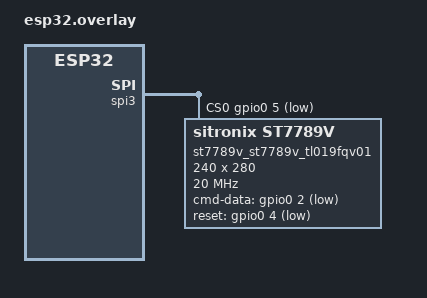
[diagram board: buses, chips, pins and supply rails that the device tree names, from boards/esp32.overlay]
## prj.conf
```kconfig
CONFIG_LV_Z_MEM_POOL_NUMBER_BLOCKS=8
CONFIG_MAIN_STACK_SIZE=2048

CONFIG_DISPLAY=y
CONFIG_DISPLAY_LOG_LEVEL_ERR=y

CONFIG_LOG=y

CONFIG_LVGL=y
CONFIG_LV_MEM_CUSTOM=y
CONFIG_LV_USE_LOG=y
CONFIG_LV_USE_LABEL=y
CONFIG_LV_USE_BTN=y
CONFIG_LV_USE_IMG=y
CONFIG_LV_FONT_MONTSERRAT_14=y
```

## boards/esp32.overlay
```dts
/*
 * Copyright (c) 2019 Jan Van Winkel <jan.van_winkel@dxplore.eu>
 *
 * SPDX-License-Identifier: Apache-2.0
 */

/ {
	chosen {
		zephyr,display = &st7789v_st7789v_tl019fqv01;
	};
};

&spi3 {
	status = "okay";
	cs-gpios = <&gpio0 5 GPIO_ACTIVE_LOW>;	/* D10 */

	st7789v_st7789v_tl019fqv01: st7789v@0 {
		compatible = "sitronix,st7789v";
		spi-max-frequency = <20000000>;
		reg = <0>;
		cmd-data-gpios = <&gpio0 2 GPIO_ACTIVE_LOW>;	/* D9 */
		reset-gpios = <&gpio0 4 GPIO_ACTIVE_LOW>;	/* D8 */
		width = <240>;
		height = <280>;
		x-offset = <0>;
		y-offset = <35>;
		vcom = <0x2b>;
		gctrl = <0x35>;
		vrhs = <0x0f>;
		vdvs = <0x20>;
		mdac = <0x60>;
		gamma = <0x01>;
		colmod = <0x55>;
		lcm = <0x2c>;
		porch-param = [0c 0c 00 33 33];
		cmd2en-param = [5a 69 02 01];
		pwctrl1-param = [52 a1];
		pvgam-param = [D0 00 02 07 0B 1A 31 54 40 29 12 12 12 17];
		nvgam-param = [D0 00 02 07 05 15 2D 44 44 1C 18 16 1C 1D];
		ram-param = [00 F8];
		rgb-param = [CD 08 14];
	};
};
```

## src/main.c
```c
/*
 * Copyright (c) 2018 Jan Van Winkel <jan.van_winkel@dxplore.eu>
 *
 * SPDX-License-Identifier: Apache-2.0
 */

#include <zephyr/device.h>
#include <zephyr/devicetree.h>
#include <zephyr/drivers/display.h>
#include <zephyr/drivers/gpio.h>
#include <lvgl.h>
#include <stdio.h>
#include <string.h>
#include <zephyr/kernel.h>

#define LOG_LEVEL CONFIG_LOG_DEFAULT_LEVEL
#include <zephyr/logging/log.h>
LOG_MODULE_REGISTER(app);

static uint32_t count;

#ifdef CONFIG_GPIO
static struct gpio_dt_spec button_gpio = GPIO_DT_SPEC_GET_OR(
		DT_ALIAS(sw0), gpios, {0});
static struct gpio_callback button_callback;

static void button_isr_callback(const struct device *port,
				struct gpio_callback *cb,
				uint32_t pins)
{
	ARG_UNUSED(port);
	ARG_UNUSED(cb);
	ARG_UNUSED(pins);

	count = 0;
}
#endif

int main(void)
{
	char count_str[11] = {0};
	const struct device *display_dev;
	lv_obj_t *hello_world_label;
	lv_obj_t *count_label;

	display_dev = DEVICE_DT_GET(DT_CHOSEN(zephyr_display));
	if (!device_is_ready(display_dev)) {
		LOG_ERR("Device not ready, aborting test");
		return 0;
	}
    printf("tesseee\n");
#ifdef CONFIG_GPIO
	if (device_is_ready(button_gpio.port)) {
		int err;

		err = gpio_pin_configure_dt(&button_gpio, GPIO_INPUT);
		if (err) {
			LOG_ERR("failed to configure button gpio: %d", err);
			return 0;
		}

		gpio_init_callback(&button_callback, button_isr_callback,
				   BIT(button_gpio.pin));

		err = gpio_add_callback(button_gpio.port, &button_callback);
		if (err) {
			LOG_ERR("failed to add button callback: %d", err);
			return 0;
		}

		err = gpio_pin_interrupt_configure_dt(&button_gpio,
						      GPIO_INT_EDGE_TO_ACTIVE);
		if (err) {
			LOG_ERR("failed to enable button callback: %d", err);
			return 0;
		}
	}
#endif

	if (IS_ENABLED(CONFIG_LV_Z_POINTER_KSCAN)) {
		lv_obj_t *hello_world_button;

		hello_world_button = lv_btn_create(lv_scr_act());
		lv_obj_align(hello_world_button, LV_ALIGN_CENTER, 0, 0);
		hello_world_label = lv_label_create(hello_world_button);
	} else {
		hello_world_label = lv_label_create(lv_scr_act());
	}

	lv_label_set_text(hello_world_label, "Hello world!");
	lv_obj_align(hello_world_label, LV_ALIGN_CENTER, 0, 0);

	count_label = lv_label_create(lv_scr_act());
	lv_obj_align(count_label, LV_ALIGN_BOTTOM_MID, 0, 0);

	lv_task_handler();
	display_blanking_off(display_dev);

	while (1) {
		if ((count % 100) == 0U) {
			sprintf(count_str, "%d", count/100U);
			lv_label_set_text(count_label, count_str);
		}
		lv_task_handler();
		++count;
		k_sleep(K_MSEC(10));
	}
}
```
